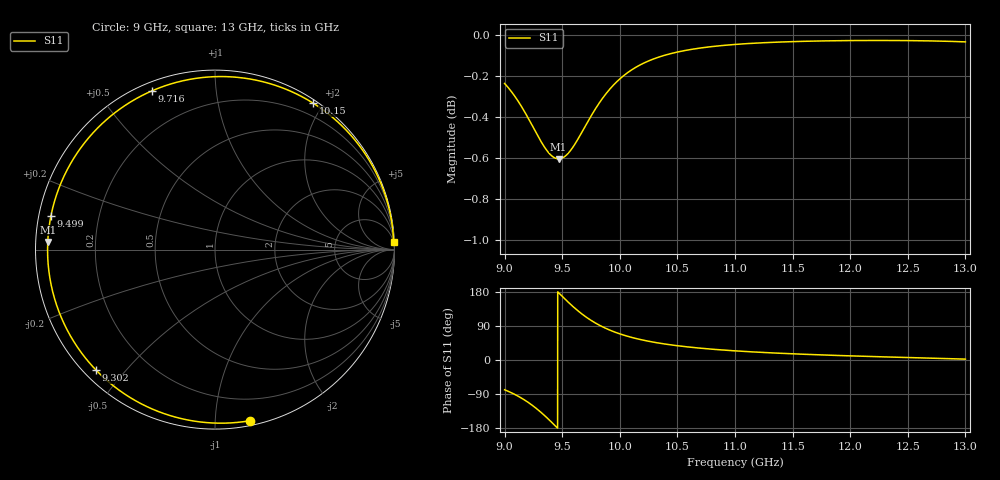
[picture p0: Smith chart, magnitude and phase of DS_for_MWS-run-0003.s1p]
! TOUCHSTONE file generated by CST DESIGN STUDIO
! Date and time: Tue Feb  4 12:53:50 2025
! Project name: C:\Work\MatlabApps\UnitCellOptimizationMatlab\CST\unitcell.cst
! Tree item: Tasks\Sweep1\SPara1\S-Parameters
! Header version: 2024
! Port assignment regex: !\s*Touchstone port\s*([0-9]+)\s*=\s*(CST MWS port|CST DES external port|CST DES block port)\s*(.+)\s* \(\"(.*)\"\)(\s*mode\s*([0-9]+))?.*
! Touchstone port assignment:
! Touchstone port 1 = CST DES external port 1 ("")
# GHz S MA R 50
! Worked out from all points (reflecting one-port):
!   4001 points, 9 GHz to 13 GHz, reference 50 ohm
!   lowest |S11| = -0.6 dB at 9.469 GHz (marker M1), VSWR 28.77, Z = 1.74 + j1.13 ohm
!   phase of S11 starts at -79 deg and turns -279 deg over the sweep
!   S11 on the Smith chart (normalised r, x): 9 GHz: 0.03, -1.22; 9.302 GHz: 0.03, -0.42; 9.499 GHz: 0.03, +0.10; 9.716 GHz: 0.04, +0.68; 10.15 GHz: 0.04, +1.87; 13 GHz: 5, +49
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9  0.973 -78.6
9.074  0.9673 -88.6
9.171  0.958 -105.1
9.239  0.9505 -119.3
9.302  0.9434 -134.5
9.346  0.939 -146.3
9.392  0.9354 -159.5
9.431  0.9335 -171.1
9.469  0.9328 177.4
9.499  0.9332 168.3
9.5  0.9332 168.0
9.552  0.9357 152.7
9.611  0.9406 136.4
9.663  0.946 123.4
9.716  0.9517 111.5
9.772  0.9576 100.5
9.834  0.9636 90.0
9.915  0.9701 78.6
10  0.9755 69.0
10.147  0.9821 56.2
10.307  0.9868 46.3
10.5  0.9903 37.7
10.722  0.9927 30.6
11  0.9945 24.1
11.5  0.9961 16.3
12  0.9967 10.9
12.5  0.9966 6.5
13  0.9959 2.3
